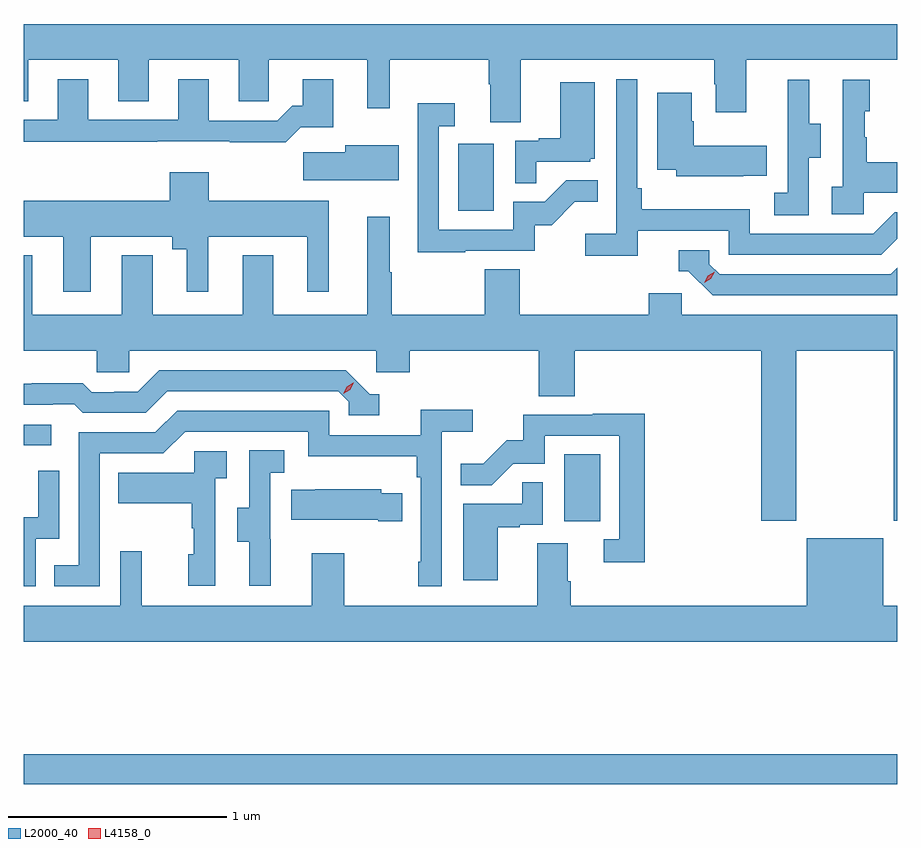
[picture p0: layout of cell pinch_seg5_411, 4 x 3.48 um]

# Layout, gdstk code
import gdstk
lib = gdstk.Library(unit=1e-6, precision=1e-09)
def R(c, l, rs):  # rectangles x0, y0, x1, y1
    for r in rs: c.add(gdstk.rectangle(r[:2], r[2:], *l))
def P(c, l, *ps):  # polygons
    for p in ps: c.add(gdstk.Polygon(p, *l))
L2000_40 = (2000, 40)
L4158_0 = (4158, 0)

pinch_seg5_411 = lib.new_cell('pinch_seg5_411')
R(pinch_seg5_411, L2000_40, [(995.831,856.108,999.831,856.244), (998.306,857.31,998.47,857.617), (995.831,857.658,995.956,857.754), (997.82,858.732,997.984,859.039)])
P(pinch_seg5_411, L2000_40, [(995.831,859.234),(995.851,859.234),(995.851,859.424),(996.263,859.424),(996.263,859.234),(996.403,859.234),(996.403,859.424),(996.815,859.424),(996.815,859.234),(996.954,859.234),(996.954,859.424),(997.403,859.424),(997.403,859.203),(997.507,859.203),(997.507,859.424),(997.96,859.424),(997.96,859.312),(997.967,859.312),(997.967,859.138),(998.107,859.138),(998.107,859.424),(998.992,859.424),(998.992,859.313),(998.999,859.313),(998.999,859.185),(999.139,859.185),(999.139,859.424),(999.831,859.424),(999.831,859.588),(995.831,859.588)],
  [(997.1,859.115),(997.249,859.115),(997.249,859.336),(997.109,859.336),(997.109,859.213),(997.06,859.213),(996.993,859.146),(996.679,859.146),(996.679,859.336),(996.539,859.336),(996.539,859.149),(996.127,859.149),(996.127,859.336),(995.987,859.336),(995.987,859.149),(995.831,859.149),(995.831,859.048),(996.443,859.048),(996.443,859.052),(996.775,859.052),(996.775,859.046),(997.031,859.046)],
  [(998.642,858.642),(999.06,858.642),(999.06,858.531),(999.757,858.531),(999.831,858.605),(999.831,858.726),(999.819,858.726),(999.72,858.627),(999.156,858.627),(999.156,858.739),(998.66,858.739),(998.66,858.835),(998.64,858.835),(998.64,859.336),(998.544,859.336),(998.544,858.628),(998.403,858.628),(998.403,858.526),(998.642,858.526)],
  [(999.426,858.976),(999.481,858.976),(999.481,859.131),(999.427,859.131),(999.427,859.333),(999.329,859.333),(999.329,859.119),(999.33,859.119),(999.33,858.815),(999.267,858.815),(999.267,858.712),(999.426,858.712)],
  [(999.678,858.815),(999.831,858.815),(999.831,858.955),(999.691,858.955),(999.691,859.07),(999.681,859.07),(999.681,859.188),(999.706,859.188),(999.706,859.333),(999.582,859.333),(999.582,858.842),(999.531,858.842),(999.531,858.717),(999.678,858.717)],
  [(998.177,858.957),(998.424,858.957),(998.424,858.972),(998.446,858.972),(998.446,859.321),(998.288,859.321),(998.288,859.066),(998.189,859.066),(998.189,859.053),(998.082,859.053),(998.082,858.859),(998.177,858.859)],
  [(999.125,858.893),(999.233,858.893),(999.233,859.03),(998.898,859.03),(998.898,859.143),(998.89,859.143),(998.89,859.273),(998.732,859.273),(998.732,858.92),(998.819,858.92),(998.819,858.89),(999.125,858.89)],
  [(997.853,858.549),(998.172,858.549),(998.172,858.666),(998.248,858.666),(998.355,858.773),(998.459,858.773),(998.459,858.872),(998.315,858.872),(998.217,858.774),(998.073,858.774),(998.073,858.645),(997.731,858.645),(997.731,859.119),(997.804,859.119),(997.804,859.225),(997.635,859.225),(997.635,858.544),(997.853,858.544)],
  [(997.549,859.033),(997.304,859.033),(997.304,859.001),(997.11,859.001),(997.11,858.872),(997.549,858.872)],
  [(996.139,858.614),(996.512,858.614),(996.512,858.557),(996.578,858.557),(996.578,858.363),(996.676,858.363),(996.676,858.614),(997.13,858.614),(997.13,858.363),(997.228,858.363),(997.228,858.778),(996.678,858.778),(996.678,858.91),(996.5,858.91),(996.5,858.778),(995.831,858.778),(995.831,858.614),(996.011,858.614),(996.011,858.363),(996.139,858.363)],
  [(999.369,858.092),(999.814,858.092),(999.814,857.313),(999.831,857.313),(999.831,858.256),(998.844,858.256),(998.844,858.354),(998.693,858.354),(998.693,858.256),(998.102,858.256),(998.102,858.464),(997.942,858.464),(997.942,858.256),(997.517,858.256),(997.517,858.452),(997.507,858.452),(997.507,858.706),(997.403,858.706),(997.403,858.256),(996.973,858.256),(996.973,858.529),(996.833,858.529),(996.833,858.256),(996.421,858.256),(996.421,858.529),(996.281,858.529),(996.281,858.256),(995.869,858.256),(995.869,858.529),(995.831,858.529),(995.831,858.092),(996.165,858.092),(996.165,857.994),(996.315,857.994),(996.315,858.092),(997.446,858.092),(997.446,857.994),(997.598,857.994),(997.598,858.092),(998.189,858.092),(998.189,857.884),(998.354,857.884),(998.354,858.092),(999.209,858.092),(999.209,857.313),(999.369,857.313)],
  [(999.831,858.471),(999.801,858.441),(999.018,858.441),(998.97,858.489),(998.97,858.552),(998.831,858.552),(998.831,858.456),(998.874,858.456),(998.985,858.345),(999.831,858.345)],
  [(997.459,857.892),(997.416,857.892),(997.305,858.003),(996.452,858.003),(996.353,857.904),(996.246,857.904),(996.246,857.901),(996.143,857.901),(996.101,857.944),(995.868,857.944),(995.868,857.941),(995.831,857.941),(995.831,857.844),(995.963,857.844),(995.963,857.847),(996.062,857.847),(996.101,857.808),(996.39,857.808),(996.489,857.907),(997.272,857.907),(997.32,857.859),(997.32,857.796),(997.459,857.796)],
  [(996.18,857.622),(996.471,857.622),(996.57,857.721),(997.134,857.721),(997.134,857.609),(997.63,857.609),(997.63,857.513),(997.65,857.513),(997.65,857.125),(997.638,857.125),(997.638,857.013),(997.746,857.013),(997.746,857.72),(997.888,857.72),(997.888,857.822),(997.649,857.822),(997.649,857.706),(997.23,857.706),(997.23,857.817),(996.533,857.817),(996.434,857.718),(996.084,857.718),(996.084,857.109),(995.971,857.109),(995.971,857.013),(996.18,857.013)],
  [(998.675,857.804),(998.437,857.804),(998.437,857.799),(998.119,857.799),(998.119,857.682),(998.042,857.682),(997.935,857.575),(997.831,857.575),(997.831,857.476),(997.975,857.476),(998.073,857.574),(998.217,857.574),(998.217,857.703),(998.559,857.703),(998.559,857.229),(998.487,857.229),(998.487,857.124),(998.675,857.124)],
  [(996.962,857.229),(996.96,857.229),(996.96,857.533),(997.024,857.533),(997.024,857.636),(996.864,857.636),(996.864,857.373),(996.809,857.373),(996.809,857.218),(996.863,857.218),(996.863,857.016),(996.962,857.016)],
  [(996.708,857.507),(996.76,857.507),(996.76,857.631),(996.612,857.631),(996.612,857.533),(996.265,857.533),(996.265,857.393),(996.6,857.393),(996.6,857.279),(996.61,857.279),(996.61,857.16),(996.584,857.16),(996.584,857.016),(996.708,857.016)],
  [(995.886,857.232),(995.994,857.232),(995.994,857.542),(995.898,857.542),(995.898,857.33),(995.831,857.33),(995.831,857.013),(995.886,857.013)],
  [(998.002,857.283),(998.102,857.283),(998.102,857.295),(998.208,857.295),(998.208,857.489),(998.113,857.489),(998.113,857.391),(997.844,857.391),(997.844,857.04),(998.002,857.04)],
  [(997.565,857.44),(997.467,857.44),(997.467,857.458),(997.165,857.458),(997.165,857.455),(997.057,857.455),(997.057,857.318),(997.454,857.318),(997.454,857.311),(997.565,857.311)],
  [(999.831,856.924),(999.766,856.924),(999.766,857.233),(999.416,857.233),(999.416,856.924),(998.336,856.924),(998.336,857.036),(998.323,857.036),(998.323,857.21),(998.183,857.21),(998.183,856.924),(997.299,856.924),(997.299,857.164),(997.151,857.164),(997.151,856.924),(996.371,856.924),(996.371,857.173),(996.273,857.173),(996.273,856.924),(995.831,856.924),(995.831,856.76),(999.831,856.76)])
P(pinch_seg5_411, L4158_0, [(998.947,858.403),(998.947,858.403),(998.964,858.436),(998.995,858.454),(998.995,858.454),(998.995,858.454),(998.978,858.422),(998.947,858.403)],
  [(997.295,857.894),(997.295,857.894),(997.311,857.927),(997.341,857.946),(997.342,857.946),(997.342,857.946),(997.326,857.914),(997.295,857.894)])

lib.write_gds('pinch_seg5_411.gds')
